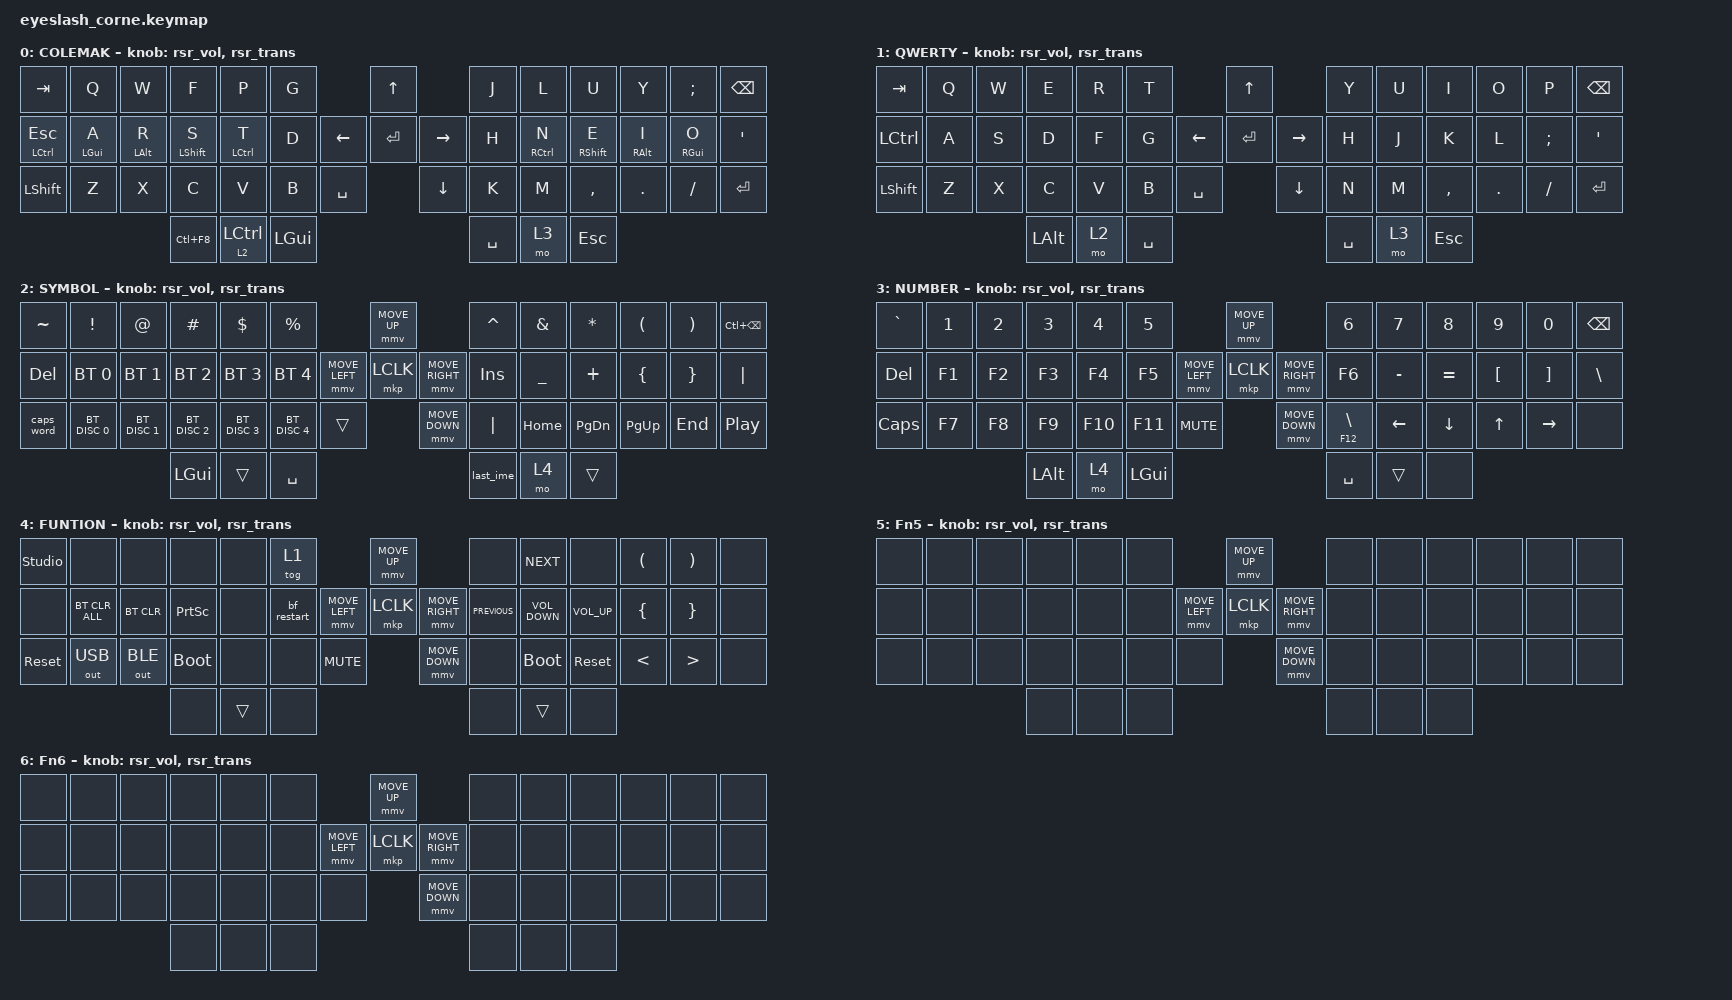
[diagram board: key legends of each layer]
#define ZMK_POINTING_DEFAULT_MOVE_VAL 1200  // 600
#define ZMK_POINTING_DEFAULT_SCRL_VAL 25   // 10

// for homerow mods

#define LH_POS 0 1 2 3 4 5        13 14 15 16 17 18           28 29 30 31 32 33 34  42 43 44
#define RH_POS 6 7 8 9 10 11 12   19 20 21 22 23 24 25 26 27  35 36 37 38 39 40 41  45 46 47

#include <input/processors.dtsi>
#include <zephyr/dt-bindings/input/input-event-codes.h>
#include <behaviors.dtsi>
#include <dt-bindings/zmk/bt.h>
#include <dt-bindings/zmk/ext_power.h>
#include <dt-bindings/zmk/keys.h>
#include <dt-bindings/zmk/pointing.h>
#include <dt-bindings/zmk/outputs.h>
#include <dt-bindings/zmk/rgb.h>
#include <behaviors/runtime-sensor-rotate.dtsi>

&mmv_input_listener { input-processors = <&zip_xy_scaler 2 1>; };

&msc_input_listener { input-processors = <&zip_scroll_scaler 2 1>; };

&msc {
    acceleration-exponent = <1>;      // 0
    time-to-max-speed-ms = <100>;       // 300
    delay-ms = <0>;                   // 0
};

&mmv {
    time-to-max-speed-ms = <500>;
    acceleration-exponent = <1>;
    trigger-period-ms = <16>;
};

&soft_off { hold-time-ms = <2000>; };

/ {
    behaviors {
        td0: td0 {
            compatible = "zmk,behavior-tap-dance";
            display-name = "Shift/Caps Lock Tap Dance";
            #binding-cells = <0>;
            bindings = <&kp LEFT_SHIFT>, <&kp CAPS>;
        };

        lst: layer_sticky_tap {
            compatible = "zmk,behavior-hold-tap";
            label = "LayerStickyTap";
            bindings = <&mo>, <&sk>;

            #binding-cells = <2>;
            tapping-term-ms = <100>;
            flavor = "balanced";
        };

        hm: hm {
            compatible = "zmk,behavior-hold-tap";
            label = "HM";
            #binding-cells = <2>;
            flavor = "tap-preferred";
            tapping-term-ms = <230>;  // try 200-260
            quick-tap-ms = <175>;     // optional, helps fast repeats
            bindings = <&kp>, <&kp>;
        };

        hmL: hmL {
            compatible = "zmk,behavior-hold-tap";
            label = "HM_L";
            #binding-cells = <2>;
            flavor = "tap-preferred";
            tapping-term-ms = <230>;
            quick-tap-ms = <175>;
            bindings = <&kp>, <&kp>;

            /* Only become HOLD if the next key is on the other hand */

            hold-trigger-key-positions = <RH_POS>;
            hold-trigger-on-release;
        };

        hmR: hmR {
            compatible = "zmk,behavior-hold-tap";
            label = "HM_R";
            #binding-cells = <2>;
            flavor = "tap-preferred";
            tapping-term-ms = <230>;
            quick-tap-ms = <175>;
            bindings = <&kp>, <&kp>;

            hold-trigger-key-positions = <LH_POS>;
            hold-trigger-on-release;
        };

        rsr_vol: rsr_vol {
            compatible = "zmk,behavior-runtime-sensor-rotate";
            #sensor-binding-cells = <0>;
            tap-ms = <5>;
            cw-binding = <&kp C_VOL_UP>;
            ccw-binding = <&kp C_VOL_DN>;
        };

        rsr_trans: rsr_trans {
            compatible = "zmk,behavior-runtime-sensor-rotate";
            #sensor-binding-cells = <0>;
            tap-ms = <0>;
        };
    };

    rgb_encoder: rgb_encoder {
        compatible = "zmk,behavior-sensor-rotate";
        #sensor-binding-cells = <0>;
        bindings = <&rgb_ug RGB_BRI>, <&rgb_ug RGB_BRD>;
    };

    scroll_encoder: scroll_encoder {
        compatible = "zmk,behavior-sensor-rotate";
        #sensor-binding-cells = <0>;
        bindings = <&msc SCRL_DOWN>, <&msc SCRL_UP>;

        tap-ms = <100>;
    };

    combos {
        compatible = "zmk,combos";

        softoff {
            bindings = <&soft_off>;
            key-positions = <1 15 29>;
        };

        copy {
            bindings = <&kp LC(C)>;
            key-positions = <30 31>;
        };

        paste {
            bindings = <&kp LC(V)>;
            key-positions = <32 31>;
        };
    };

    macros {
        last_ime: last_ime {
            compatible = "zmk,behavior-macro";
            #binding-cells = <0>;
            bindings =
                <&macro_press>,
                <&kp LCTRL>,
                <&macro_press>,
                <&kp LGUI>,
                <&macro_tap>,
                <&kp SPACE>,
                <&macro_release>,
                <&kp LCTRL>,
                <&macro_release>,
                <&kp LGUI>;
        };

        bf_restart: bf_restart {
            compatible = "zmk,behavior-macro";
            #binding-cells = <0>;
            bindings =
                <&kp Z>,
                <&macro_wait_time 500>,
                <&kp Z>,
                <&macro_wait_time 500>,
                <&kp Z>,
                <&macro_wait_time 10000>,
                <&kp ESCAPE>,
                <&macro_wait_time 500>,
                <&kp SPACE>,
                <&macro_wait_time 1000>,
                <&kp SPACE>,
                <&macro_wait_time 1000>,
                <&kp SPACE>,
                <&macro_wait_time 26000>;

            label = "BF_RESTART";
        };
    };

    keymap {
        compatible = "zmk,keymap";

        default_layer {
            display-name = "COLEMAK"; // layer 0
            bindings = <
&kp TAB        &kp Q        &kp W        &kp F          &kp P         &kp G                            &kp UP                &kp J      &kp L         &kp U          &kp Y        &kp SEMI     &kp BSPC
&mt LCTRL ESC  &hmL LGUI A  &hmL LALT R  &hmL LSHIFT S  &hmL LCTRL T  &kp D                  &kp LEFT  &kp ENTER  &kp RIGHT  &kp H      &hmR RCTRL N  &hmR RSHIFT E  &hmR RALT I  &hmR RGUI O  &kp SQT
&kp LSHIFT     &kp Z        &kp X        &kp C          &kp V         &kp B     &kp SPACE              &kp DOWN              &kp K      &kp M         &kp COMMA      &kp DOT      &kp FSLH     &kp ENTER
                                         &kp LC(F8)     &lst 2 LCTRL  &kp LGUI                                               &kp SPACE  &mo 3         &kp ESC
            >;
            /* &mt LCTRL ESC  &mt LGUI A  &mt LALT R  &mt LSHIFT S  &mt LCTRL T   &kp D                  &kp LEFT  &kp ENTER  &kp RIGHT  &kp H      &mt RCTRL N  &mt RSHIFT E  &mt RALT I  &mt RGUI O  &kp SQT */

            sensor-bindings = <&rsr_vol &rsr_trans>;
        };

        qwerty_layer {
            display-name = "QWERTY"; // layer 1
            bindings = <
&kp TAB     &kp Q  &kp W  &kp E     &kp R  &kp T                             &kp UP                &kp Y      &kp U  &kp I      &kp O    &kp P     &kp BSPC
&kp LCTRL   &kp A  &kp S  &kp D     &kp F  &kp G                   &kp LEFT  &kp ENTER  &kp RIGHT  &kp H      &kp J  &kp K      &kp L    &kp SEMI  &kp SQT
&kp LSHIFT  &kp Z  &kp X  &kp C     &kp V  &kp B      &kp SPACE              &kp DOWN              &kp N      &kp M  &kp COMMA  &kp DOT  &kp FSLH  &kp ENTER
                          &kp LALT  &mo 2  &kp SPACE                                               &kp SPACE  &mo 3  &kp ESC
            >;

            sensor-bindings = <&rsr_vol &rsr_trans>;
        };

        lower_layer {
            display-name = "SYMBOL"; // layer 2
            bindings = <
&kp TILDE   &kp EXCL       &kp AT         &kp HASH       &kp DLLR       &kp PRCNT                                &mmv MOVE_UP                     &kp CARET  &kp AMPS   &kp ASTRK  &kp LPAR   &kp RPAR  &kp LC(BSPC)
&kp DEL     &bt BT_SEL 0   &bt BT_SEL 1   &bt BT_SEL 2   &bt BT_SEL 3   &bt BT_SEL 4             &mmv MOVE_LEFT  &mkp LCLK       &mmv MOVE_RIGHT  &kp INS    &kp UNDER  &kp PLUS   &kp LBRC   &kp RBRC  &kp PIPE
&caps_word  &bt BT_DISC 0  &bt BT_DISC 1  &bt BT_DISC 2  &bt BT_DISC 3  &bt BT_DISC 4  &trans                    &mmv MOVE_DOWN                   &kp PIPE   &kp HOME   &kp PG_DN  &kp PG_UP  &kp END   &kp C_PLAY_PAUSE
                                          &kp LGUI       &trans         &kp SPACE                                                                 &last_ime  &mo 4      &trans
            >;
            sensor-bindings = <&rsr_vol &rsr_trans>;
        };

        raise_layer {
            display-name = "NUMBER"; // layer 3
            bindings = <
&kp GRAVE  &kp N1  &kp N2  &kp N3    &kp N4   &kp N5                                  &mmv MOVE_UP                     &kp N6             &kp N7     &kp N8     &kp N9    &kp N0     &kp BSPC
&kp DEL    &kp F1  &kp F2  &kp F3    &kp F4   &kp F5                  &mmv MOVE_LEFT  &mkp LCLK       &mmv MOVE_RIGHT  &kp F6             &kp MINUS  &kp EQUAL  &kp LBKT  &kp RBKT   &kp BSLH
&kp CAPS   &kp F7  &kp F8  &kp F9    &kp F10  &kp F11   &kp C_MUTE                    &mmv MOVE_DOWN                   &mt F12 BACKSLASH  &kp LEFT   &kp DOWN   &kp UP    &kp RIGHT  &none
                           &kp LALT  &mo 4    &kp LGUI                                                                 &kp SPACE          &trans     &none
            >;
            sensor-bindings = <&rsr_vol &rsr_trans>;
        };

        mod_layer {
            display-name = "FUNTION"; // layer 4
            bindings = <
&studio_unlock  &none           &none         &none            &none   &tog 1                                     &mmv MOVE_UP                     &none           &kp C_NEXT    &none         &kp LPAR       &kp RPAR          &none
&none           &bt BT_CLR_ALL  &bt BT_CLR    &kp PRINTSCREEN  &none   &bf_restart                &mmv MOVE_LEFT  &mkp LCLK       &mmv MOVE_RIGHT  &kp C_PREVIOUS  &kp C_VOLUME_DOWN  &kp C_VOLUME_UP  &kp LBRC       &kp RBRC          &none
&sys_reset      &out OUT_USB    &out OUT_BLE  &bootloader      &none   &none        &kp C_MUTE                    &mmv MOVE_DOWN                   &none           &bootloader   &sys_reset    &kp LESS_THAN  &kp GREATER_THAN  &none
                                              &none            &trans  &none                                                                       &none           &trans        &none
            >;
            sensor-bindings = <&rsr_vol &rsr_trans>;
        };

        layer_5 {
            display-name = "Fn5"; // layer 5
            bindings = <
&none  &none  &none  &none  &none  &none                           &mmv MOVE_UP                     &none  &none  &none  &none  &none  &none
&none  &none  &none  &none  &none  &none           &mmv MOVE_LEFT  &mkp LCLK       &mmv MOVE_RIGHT  &none  &none  &none  &none  &none  &none
&none  &none  &none  &none  &none  &none  &none                    &mmv MOVE_DOWN                   &none  &none  &none  &none  &none  &none
                     &none  &none  &none                                                            &none  &none  &none
            >;

            sensor-bindings = <&rsr_vol &rsr_trans>;
        };

        layer_6 {
            display-name = "Fn6"; // layer 6
            bindings = <
&none  &none  &none  &none  &none  &none                           &mmv MOVE_UP                     &none  &none  &none  &none  &none  &none
&none  &none  &none  &none  &none  &none           &mmv MOVE_LEFT  &mkp LCLK       &mmv MOVE_RIGHT  &none  &none  &none  &none  &none  &none
&none  &none  &none  &none  &none  &none  &none                    &mmv MOVE_DOWN                   &none  &none  &none  &none  &none  &none
                     &none  &none  &none                                                            &none  &none  &none
            >;

            sensor-bindings = <&rsr_vol &rsr_trans>;
        };
    };
};
